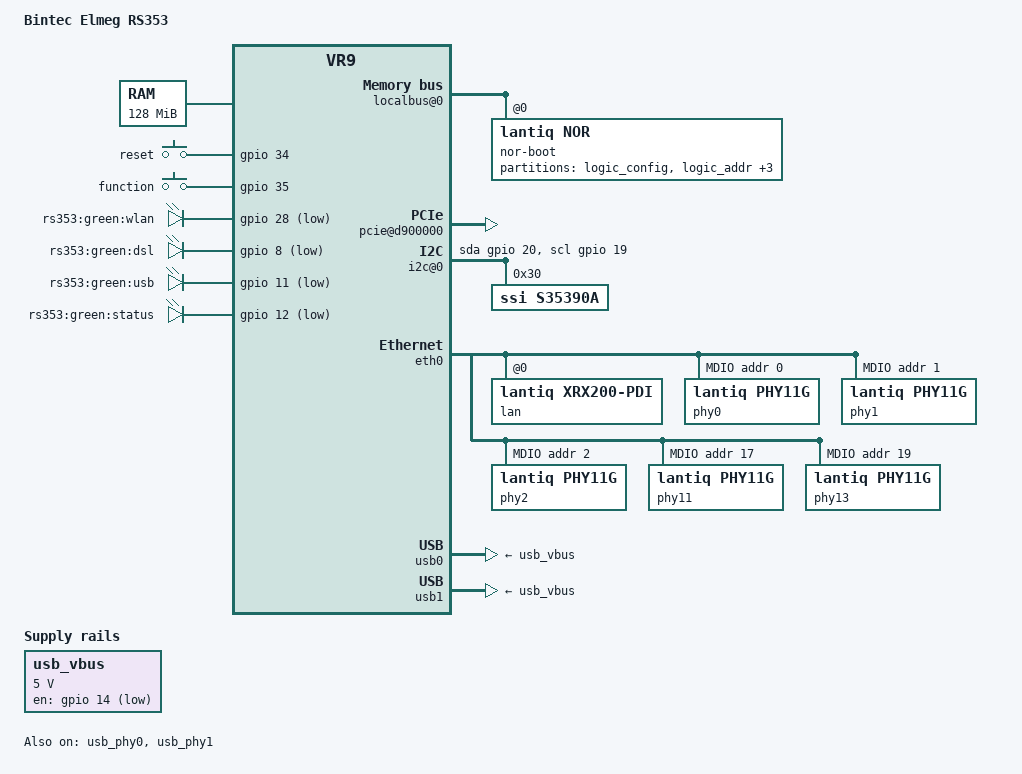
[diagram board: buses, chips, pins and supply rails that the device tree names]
/dts-v1/;

#include "vr9.dtsi"

#include <dt-bindings/input/input.h>
#include <dt-bindings/mips/lantiq_rcu_gphy.h>

/ {
	compatible = "bintec,rs353", "lantiq,xway", "lantiq,vr9";
	model = "Bintec Elmeg RS353";

	chosen {
		bootargs = "console=ttyLTQ0,115200";
	};

	aliases {
		led-running = &status;
		led-boot = &status;
		led-wifi = &wlan;
		led-usb2 = &usb; /* Front port is mapped to device 2 */
		led-dsl = &dsl;
	};

	memory@0 {
		device_type = "memory";
		reg = <0x0 0x8000000>;
	};

	fpi@10000000 {
		localbus@0 {
			nor-boot@0 {
				compatible = "lantiq,nor";
				bank-width = <2>;
				reg = <0 0x0 0x2000000>;
				#address-cells = <1>;
				#size-cells = <1>;
				lantiq,ebu_swap_check;

				partitions {
					compatible = "fixed-partitions";
					#address-cells = <1>;
					#size-cells = <1>;

					boardconfig: partition@0 {
						label = "logic_config";
						reg = <0x0 0x20000>;
						read-only;
					};

					partition@0x20000 {
						label = "logic_addr";
						reg = <0x20000 0x20000>;
						read-only;
					};

					partition@0x40000 {
						label = "bootmonitor";
						reg = <0x40000 0x20000>;
						read-only;
					};

					partition@0x80000 {
						label = "flash_config";
						reg = <0x80000 0x40000>;
						read-only;
					};

					partition@0x100000 {
						label = "firmware";
						reg = <0xc0000 0x1F40000>;
					};
				};
			};
		};

		ifxhcd@E101000 {
			status = "okay";
		};

		ifxhcd@E106000 {
			status = "okay";
		};

		pcie@d900000 {
			status = "okay";
			gpio-reset = <&gpio 18 GPIO_ACTIVE_HIGH>;
		};
	};

	i2c@0 {
		compatible = "i2c-gpio";
		gpios = <&gpio 20 0 /* sda */
	 		&gpio 19 0 /* scl */
			>;
		i2c-gpio,delay-us = <2>;	/* ~100 kHz */
		
		#address-cells = <1>;
		#size-cells = <0>;
		s35390a: s35390a@30 {
			compatible = "ssi,s35390a";
			reg = <0x30>;
		};
	};

	gpio-keys-polled {
		compatible = "gpio-keys-polled";
		#address-cells = <1>;
		#size-cells = <0>;
		poll-interval = <100>;

		reset {
			label = "reset";
			gpios = <&gpio 34 0>;
			linux,code = <0x198>;
		};
		function {
			label = "function";
			gpios = <&gpio 35 0>;
			linux,code = <0x100>; /*BTN_0*/
		};
	};

	gpio-leds {
		compatible = "gpio-leds";

		wlan: wlan {
			label = "rs353:green:wlan";
			gpios = <&gpio 28 GPIO_ACTIVE_LOW>;
		};

		dsl: dsl {
			label = "rs353:green:dsl";
			gpios = <&gpio 8 GPIO_ACTIVE_LOW>;
		};

		usb: usb {
			label = "rs353:green:usb";
			gpios = <&gpio 11 GPIO_ACTIVE_LOW>;
		};

		status: status {
			label = "rs353:green:status";
			gpios = <&gpio 12 GPIO_ACTIVE_LOW>;
		};
	};
	usb_vbus: regulator-usb-vbus {
		compatible = "regulator-fixed";

		regulator-name = "USB_VBUS";

		regulator-min-microvolt = <5000000>;
		regulator-max-microvolt = <5000000>;

		gpio = <&gpio 14 GPIO_ACTIVE_LOW>;
		enable-active-low;
	};
};

&eth0 {
	lan: interface@0 {
		compatible = "lantiq,xrx200-pdi";
		#address-cells = <1>;
		#size-cells = <0>;
		reg = <0>;
		mtd-mac-address = <&boardconfig 0x428>;
		lantiq,switch;

		ethernet@1 {
			compatible = "lantiq,xrx200-pdi-port";
			reg = <1>;
			phy-mode = "rgmii";
			phy-handle = <&phy0>;
		};

		ethernet@0 {
			compatible = "lantiq,xrx200-pdi-port";
			reg = <0>;
			phy-mode = "rgmii";
			phy-handle = <&phy1>;
		};

		ethernet@3 {
			compatible = "lantiq,xrx200-pdi-port";
			reg = <5>;
			phy-mode = "rgmii";
			phy-handle = <&phy2>;
		};

		ethernet@4 {
			compatible = "lantiq,xrx200-pdi-port";
			reg = <4>;
			phy-mode = "gmii";
			phy-handle = <&phy13>;
		};

		ethernet@5 {
			compatible = "lantiq,xrx200-pdi-port";
			reg = <2>;
			phy-mode = "gmii";
			phy-handle = <&phy11>;
		};

	};

	mdio@0 {
		#address-cells = <1>;
		#size-cells = <0>;
		compatible = "lantiq,xrx200-mdio";
		phy0: ethernet-phy@0 {
			reg = <0x0>;
			compatible = "lantiq,phy11g", "ethernet-phy-ieee802.3-c22";
			lantiq,led0h = <0x20>;
			lantiq,led0l = <0x00>;
			lantiq,led1h = <0x40>;
			lantiq,led1l = <0x00>;
			lantiq,led2h = <0x70>;
			lantiq,led2l = <0x03>;
		};
		phy1: ethernet-phy@1 {
			reg = <0x1>;
			compatible = "lantiq,phy11g", "ethernet-phy-ieee802.3-c22";
			lantiq,led0h = <0x20>;
			lantiq,led0l = <0x00>;
			lantiq,led1h = <0x40>;
			lantiq,led1l = <0x00>;
			lantiq,led2h = <0x70>;
			lantiq,led2l = <0x03>;
		};
		phy2: ethernet-phy@2 {
			reg = <0x2>;
			compatible = "lantiq,phy11g", "ethernet-phy-ieee802.3-c22";
			lantiq,led0h = <0x20>;
			lantiq,led0l = <0x00>;
			lantiq,led1h = <0x40>;
			lantiq,led1l = <0x00>;
			lantiq,led2h = <0x70>;
			lantiq,led2l = <0x03>;
		};
		phy11: ethernet-phy@11 {
			reg = <0x11>;
			compatible = "lantiq,phy11g", "ethernet-phy-ieee802.3-c22";
			lantiq,led0h = <0x20>;
			lantiq,led0l = <0x00>;
			lantiq,led1h = <0x40>;
			lantiq,led1l = <0x00>;
			lantiq,led2h = <0x70>;
			lantiq,led2l = <0x03>;
		};
		phy13: ethernet-phy@13 {
			reg = <0x13>;
			compatible = "lantiq,phy11g", "ethernet-phy-ieee802.3-c22";
			lantiq,led0h = <0x20>;
			lantiq,led0l = <0x00>;
			lantiq,led1h = <0x40>;
			lantiq,led1l = <0x00>;
			lantiq,led2h = <0x70>;
			lantiq,led2l = <0x03>;
		};
	};
};

&gphy0 {
	lantiq,gphy-mode = <GPHY_MODE_GE>;
};

&gphy1 {
	lantiq,gphy-mode = <GPHY_MODE_GE>;
};

&gpio {
	pinctrl-names = "default";
	pinctrl-0 = <&state_default>;

	state_default: pinmux {
		mdio {
			lantiq,groups = "mdio";
			lantiq,function = "mdio";
		};
		i2c {
		 	lantiq,pins = "io19", "io20"; /* port i2c */
		 	lantiq,open-drain;
		 	lantiq,pull = <2>;
		};
		gphy-leds {
			lantiq,groups = "gphy0 led0", "gphy0 led1",
			"gphy0 led2", "gphy1 led0",
			"gphy1 led1", "gphy1 led2";
			lantiq,function = "gphy";
			lantiq,pull = <2>;
			lantiq,open-drain = <0>;
			lantiq,output = <1>;
		};
	};
};

&usb_phy0 {
	status = "okay";
};

&usb_phy1 {
	status = "okay";
};

&usb0 {
	status = "okay";
	vbus-supply = <&usb_vbus>;
};

&usb1 {
	status = "okay";
	vbus-supply = <&usb_vbus>;
};
